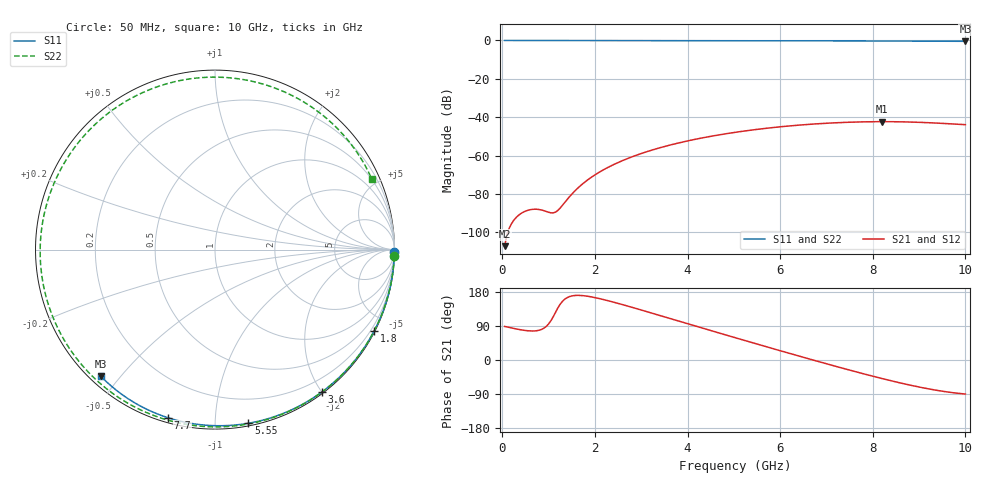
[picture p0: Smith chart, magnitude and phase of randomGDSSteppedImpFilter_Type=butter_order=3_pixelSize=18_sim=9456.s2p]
! freq	dB(S11)	phase(S11)	dB(S12)	phase(S12)
!  dB(S21)	phase(S21)	dB(S22)	phase(S22)
!S-par simulation data
#  GHz  S  DB  R 50
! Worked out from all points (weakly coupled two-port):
!   200 points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, 50 MHz to 10 GHz, reference 50 ohm
!   highest |S21| = -42.34 dB at 8.2 GHz (marker M1); lowest = -107.3 dB at 50 MHz (marker M2)
!   lowest |S11| = -0.4 dB at 10 GHz (marker M3), VSWR 38.96, Z = 1.54 - j22.2 ohm
!   |S11| at or under -10 dB: nowhere
!   |S22| runs from -0.4 to 0.0 dB; largest |S21 - S12| = 0
!   S11 on the Smith chart (normalised r, x): 50 MHz: open; 1.8 GHz: 0.04, -4.15; 3.6 GHz: 0.02, -2.01; 5.55 GHz: 0.02, -1.21; 7.7 GHz: 0.02, -0.76; 10 GHz: 0.03, -0.44
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0.05  -0.00 -0.8  -107.28 88.6  -107.28 88.6  -0.00 -2.1
0.7  -0.01 -10.6  -88.00 76.7  -88.00 76.7  -0.04 -29.3
1.1  -0.02 -16.7  -89.93 114.3  -89.93 114.3  -0.06 -45.6
1.5  -0.03 -22.6  -80.16 169.0  -80.16 169.0  -0.08 -61.3
1.75  -0.03 -26.3  -74.47 169.7  -74.47 169.7  -0.09 -70.9
1.8  -0.03 -27.1  -73.51 169.0  -73.51 169.0  -0.09 -72.7
2.1  -0.04 -31.5  -68.62 162.0  -68.62 162.0  -0.10 -83.8
2.5  -0.05 -37.3  -63.66 149.4  -63.66 149.4  -0.12 -98.0
2.95  -0.06 -43.8  -59.38 133.7  -59.38 133.7  -0.13 -113.3
3.4  -0.07 -50.2  -55.98 117.5  -55.98 117.5  -0.15 -128.0
3.6  -0.07 -53.0  -54.68 110.3  -54.68 110.3  -0.16 -134.3
4.35  -0.09 -63.3  -50.67 83.2  -50.67 83.2  -0.19 -157.4
5.05  -0.11 -72.6  -47.83 58.1  -47.83 58.1  -0.22 -178.3
5.55  -0.13 -79.1  -46.22 40.3  -46.22 40.3  -0.25 166.9
6.1  -0.15 -86.1  -44.80 21.0  -44.80 21.0  -0.28 150.5
6.7  -0.18 -93.6  -43.62 0.2  -43.62 0.2  -0.30 132.2
7.2  -0.21 -99.6  -42.93 -16.7  -42.93 -16.7  -0.32 116.6
7.7  -0.24 -105.6  -42.50 -33.2  -42.50 -33.2  -0.34 100.6
8.2  -0.28 -111.5  -42.34 -48.9  -42.34 -48.9  -0.35 84.2
8.35  -0.29 -113.3  -42.35 -53.4  -42.35 -53.4  -0.35 79.3
9.1  -0.35 -121.9  -42.78 -73.8  -42.78 -73.8  -0.36 54.2
10  -0.45 -132.2  -43.92 -89.8  -43.92 -89.8  -0.37 24.2
